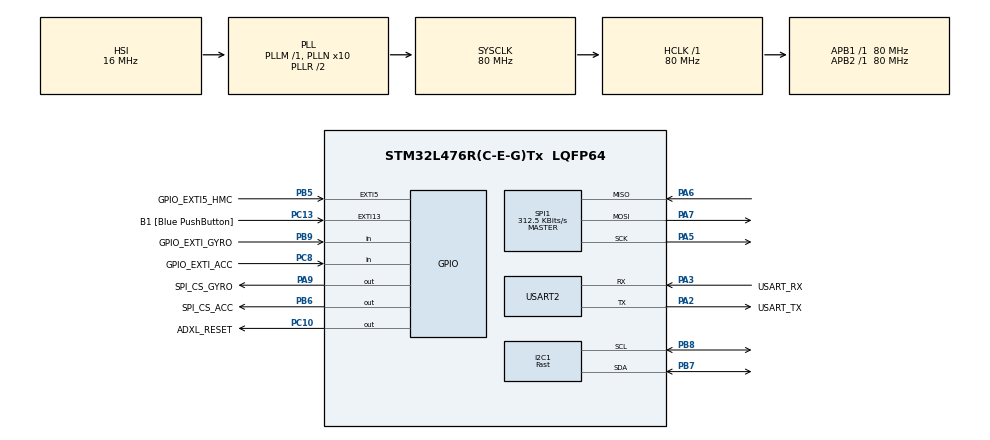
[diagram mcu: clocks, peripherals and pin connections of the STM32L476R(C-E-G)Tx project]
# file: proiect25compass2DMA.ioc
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Dma.I2C1_RX.2.Direction=DMA_PERIPH_TO_MEMORY
Dma.I2C1_RX.2.Instance=DMA1_Channel7
Dma.I2C1_RX.2.MemDataAlignment=DMA_MDATAALIGN_BYTE
Dma.I2C1_RX.2.MemInc=DMA_MINC_ENABLE
Dma.I2C1_RX.2.Mode=DMA_NORMAL
Dma.I2C1_RX.2.PeriphDataAlignment=DMA_PDATAALIGN_BYTE
Dma.I2C1_RX.2.PeriphInc=DMA_PINC_DISABLE
Dma.I2C1_RX.2.Priority=DMA_PRIORITY_LOW
Dma.Request0=SPI1_RX
Dma.Request1=SPI1_TX
Dma.Request2=I2C1_RX
Dma.SPI1_RX.0.Direction=DMA_PERIPH_TO_MEMORY
Dma.SPI1_RX.0.Instance=DMA1_Channel2
Dma.SPI1_RX.0.MemDataAlignment=DMA_MDATAALIGN_BYTE
Dma.SPI1_RX.0.MemInc=DMA_MINC_ENABLE
Dma.SPI1_RX.0.Mode=DMA_NORMAL
Dma.SPI1_RX.0.PeriphDataAlignment=DMA_PDATAALIGN_BYTE
Dma.SPI1_RX.0.PeriphInc=DMA_PINC_DISABLE
Dma.SPI1_RX.0.Priority=DMA_PRIORITY_LOW
Dma.SPI1_TX.1.Direction=DMA_MEMORY_TO_PERIPH
Dma.SPI1_TX.1.Instance=DMA1_Channel3
Dma.SPI1_TX.1.MemDataAlignment=DMA_MDATAALIGN_BYTE
Dma.SPI1_TX.1.MemInc=DMA_MINC_ENABLE
Dma.SPI1_TX.1.Mode=DMA_NORMAL
Dma.SPI1_TX.1.PeriphDataAlignment=DMA_PDATAALIGN_BYTE
Dma.SPI1_TX.1.PeriphInc=DMA_PINC_DISABLE
Dma.SPI1_TX.1.Priority=DMA_PRIORITY_LOW
I2C1.I2C_Speed_Mode=I2C_Fast
I2C1.Timing=0x00702991
Mcu.Family=STM32L4
Mcu.Name=STM32L476R(C-E-G)Tx
Mcu.Package=LQFP64
NVIC.DMA1_Channel2_IRQn=true\:2\:0\:true\:false\:true\:false\:true\:true
NVIC.DMA1_Channel3_IRQn=true\:2\:0\:true\:false\:true\:false\:true\:true
NVIC.DMA1_Channel7_IRQn=true\:0\:0\:false\:false\:true\:false\:true\:true
NVIC.EXTI9_5_IRQn=true\:2\:0\:true\:false\:true\:true\:true\:true
NVIC.I2C1_EV_IRQn=true\:2\:0\:true\:false\:true\:true\:true\:true
NVIC.PriorityGroup=NVIC_PRIORITYGROUP_4
NVIC.SPI1_IRQn=true\:2\:0\:true\:false\:true\:true\:true\:true
PA13\ (JTMS-SWDIO).GPIO_Label=TMS
PA13\ (JTMS-SWDIO).Mode=Serial_Wire
PA13\ (JTMS-SWDIO).Signal=SYS_JTMS-SWDIO
PA14\ (JTCK-SWCLK).GPIO_Label=TCK
PA14\ (JTCK-SWCLK).Mode=Serial_Wire
PA14\ (JTCK-SWCLK).Signal=SYS_JTCK-SWCLK
PA2.GPIO_Label=USART_TX
PA2.GPIO_Mode=GPIO_MODE_AF_PP
PA2.GPIO_PuPd=GPIO_NOPULL
PA2.GPIO_Speed=GPIO_SPEED_FREQ_VERY_HIGH
PA2.Mode=Asynchronous
PA2.Signal=USART2_TX
PA3.GPIO_Label=USART_RX
PA3.GPIO_Mode=GPIO_MODE_AF_PP
PA3.GPIO_PuPd=GPIO_NOPULL
PA3.GPIO_Speed=GPIO_SPEED_FREQ_VERY_HIGH
PA3.Mode=Asynchronous
PA3.Signal=USART2_RX
PA5.Mode=Full_Duplex_Master
PA5.Signal=SPI1_SCK
PA6.GPIO_PuPd=GPIO_PULLUP
PA6.Mode=Full_Duplex_Master
PA6.Signal=SPI1_MISO
PA7.GPIO_PuPd=GPIO_PULLUP
PA7.Mode=Full_Duplex_Master
PA7.Signal=SPI1_MOSI
PA9.GPIO_Label=SPI_CS_GYRO
PA9.GPIO_Speed=GPIO_SPEED_FREQ_HIGH
PA9.PinState=GPIO_PIN_SET
PA9.Signal=GPIO_Output
PB3\ (JTDO-TRACESWO).GPIO_Label=SWO
PB3\ (JTDO-TRACESWO).Signal=SYS_JTDO-SWO
PB5.GPIO_Label=GPIO_EXTI5_HMC
PB5.GPIO_PuPd=GPIO_PULLUP
PB5.Signal=GPXTI5
PB6.GPIO_Label=SPI_CS_ACC
PB6.GPIO_Speed=GPIO_SPEED_FREQ_HIGH
PB6.PinState=GPIO_PIN_SET
PB6.Signal=GPIO_Output
PB7.GPIO_FM7=I2C_FASTMODEPLUS_PB7
PB7.GPIO_Pu=GPIO_PULLUP
PB7.Mode=I2C
PB7.Signal=I2C1_SDA
PB8.GPIO_FM8=I2C_FASTMODEPLUS_PB8
PB8.GPIO_Pu=GPIO_PULLUP
PB8.Mode=I2C
PB8.Signal=I2C1_SCL
PB9.GPIO_Label=GPIO_EXTI_GYRO
PB9.Signal=GPIO_Input
PC10.GPIO_Label=ADXL_RESET
PC10.Signal=GPIO_Output
PC13.GPIO_Label=B1 [Blue PushButton]
PC13.GPIO_ModeDefaultEXTI=GPIO_MODE_IT_FALLING
PC13.GPIO_PuPd=GPIO_NOPULL
PC13.Signal=GPXTI13
PC14-OSC32_IN\ (PC14).Mode=LSE-External-Oscillator
PC14-OSC32_IN\ (PC14).Signal=RCC_OSC32_IN
PC15-OSC32_OUT\ (PC15).Mode=LSE-External-Oscillator
PC15-OSC32_OUT\ (PC15).Signal=RCC_OSC32_OUT
PC8.GPIO_Label=GPIO_EXTI_ACC
PC8.Signal=GPIO_Input
PH0-OSC_IN\ (PH0).Signal=RCC_OSC_IN
PH1-OSC_OUT\ (PH1).Signal=RCC_OSC_OUT
ProjectManager.HeapSize=0x200
ProjectManager.StackSize=0x400
ProjectManager.TargetToolchain=STM32CubeIDE
RCC.ADCFreq_Value=64000000
RCC.AHBFreq_Value=80000000
RCC.APB1Freq_Value=80000000
RCC.APB1TimFreq_Value=80000000
RCC.APB2Freq_Value=80000000
RCC.APB2TimFreq_Value=80000000
RCC.CortexFreq_Value=80000000
RCC.HCLKFreq_Value=80000000
RCC.HSE_VALUE=8000000
RCC.HSI_VALUE=16000000
RCC.MSI_VALUE=4000000
RCC.PLLN=10
RCC.PLLSourceVirtual=RCC_PLLSOURCE_HSI
RCC.PREFETCH_ENABLE=1
RCC.SYSCLKFreq_VALUE=80000000
RCC.SYSCLKSource=RCC_SYSCLKSOURCE_PLLCLK
RCC.USBFreq_Value=64000000
RCC.VCOOutputFreq_Value=160000000
SPI1.BaudRatePrescaler=SPI_BAUDRATEPRESCALER_256
SPI1.CLKPhase=SPI_PHASE_2EDGE
SPI1.CLKPolarity=SPI_POLARITY_HIGH
SPI1.CalculateBaudRate=312.5 KBits/s
SPI1.DataSize=SPI_DATASIZE_8BIT
SPI1.Direction=SPI_DIRECTION_2LINES
SPI1.Mode=SPI_MODE_MASTER
SPI1.VirtualType=VM_MASTER
USART2.VirtualMode-Asynchronous=VM_ASYNC
board=NUCLEO-L476RG

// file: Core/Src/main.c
/* USER CODE BEGIN Header */
/**
  ******************************************************************************
  * @file           : main.c
  * @brief          : Main program body
  ******************************************************************************
  * @attention
  *
  * Copyright (c) 2022 STMicroelectronics.
  * All rights reserved.
  *
  * This software is licensed under terms that can be found in the LICENSE file
  * in the root directory of this software component.
  * If no LICENSE file comes with this software, it is provided AS-IS.
  *
  ******************************************************************************
  */
/* USER CODE END Header */
#include "main.h"
#include "dma.h"
#include "i2c.h"
#include "spi.h"
#include "usart.h"
#include "gpio.h"

/* USER CODE BEGIN Includes */
#include <stdio.h>
#include "ADXL.h"
#include <string.h>
#include "GYRO.h"
#include <stdbool.h>
#include "HMC.h"
/* USER CODE END Includes */

/* USER CODE BEGIN PV */
bool is_new_data_available = false;
bool is_new_ACC_datacomplete = false;
bool is_new_processing_ready = true;
bool is_new_GYRO_datacomplete = false;
bool HMC_EXTI_Ready = false;
bool HMC_IT_Ready = false;

extern DMA_HandleTypeDef hdma_spi1_rx;
/* USER CODE END PV */

void SystemClock_Config(void);

int main(void)
{
  /* USER CODE BEGIN 1 */
  // uint8_t buffTest[] = {0x8F, 0x00};

  /* USER CODE END 1 */

  /* MCU Configuration--------------------------------------------------------*/

  /* Reset of all peripherals, Initializes the Flash interface and the Systick. */
  HAL_Init();

  /* Configure the system clock */
  SystemClock_Config();

  /* Initialize all configured peripherals */
  MX_GPIO_Init();
  MX_DMA_Init();
  MX_USART2_UART_Init();
  MX_SPI1_Init();
  MX_I2C1_Init();
  /* USER CODE BEGIN 2 */

  HMC_DEVIDv2();
  Set_SingleMeasureMode();
 // ADXL_Init();
//  GYRO_PowerMode();

  int16_t x,y,z;

 // ADXL_ReadValuesXYZ(&x, &y, &z);
//  GYRO_ReadValuesXYZ(&x, &y, &z);
  /* USER CODE END 2 */

  /* Infinite loop */
  /* USER CODE BEGIN WHILE */

  while (1)
  {
/*	if(ADXL_IsExtiDataReady())
	{
		ADXL_IT_StartSPI();
	}

	if(GYRO_IsExtiDataReady())
	{
		GYRO_SPI_IT_START();
	}

	if(is_new_ACC_datacomplete)
	{
		is_new_ACC_datacomplete = false;
		ADXL_IT_GetValuesXYZ(&x, &y, &z);
		ADXL_ConvertXYZValuesG(&x, &y, &z);
	//	USART_TransmitACCValues(&x, &y, &z);
 	}

    if(is_new_GYRO_datacomplete)
    {
	    is_new_GYRO_datacomplete =false;
	    GYRO_IT_GetValuesXYZ(&x, &y, &z);
  	    GYRO_XYZConv(&x, &y, &z);

  	 //   USART_TransmitGYROValues(&x, &y, &z);
    }
*/
	 if(HMC_IT_Ready)
	 {
         HMC_IT_GetValuesXYZ(&x, &y, &z);
		 USART_TransmitHMCValues(&x, &y, &z);
		 HMC_IT_Ready = false;
	 }
    /* USER CODE END WHILE */

   }
}

void SystemClock_Config(void)
{
  RCC_OscInitTypeDef RCC_OscInitStruct = {0};
  RCC_ClkInitTypeDef RCC_ClkInitStruct = {0};

  /** Configure the main internal regulator output voltage
  */
  if (HAL_PWREx_ControlVoltageScaling(PWR_REGULATOR_VOLTAGE_SCALE1) != HAL_OK)
  {
    Error_Handler();
  }

  /** Initializes the RCC Oscillators according to the specified parameters
  * in the RCC_OscInitTypeDef structure.
  */
  RCC_OscInitStruct.OscillatorType = RCC_OSCILLATORTYPE_HSI;
  RCC_OscInitStruct.HSIState = RCC_HSI_ON;
  RCC_OscInitStruct.HSICalibrationValue = RCC_HSICALIBRATION_DEFAULT;
  RCC_OscInitStruct.PLL.PLLState = RCC_PLL_ON;
  RCC_OscInitStruct.PLL.PLLSource = RCC_PLLSOURCE_HSI;
  RCC_OscInitStruct.PLL.PLLM = 1;
  RCC_OscInitStruct.PLL.PLLN = 10;
  RCC_OscInitStruct.PLL.PLLP = RCC_PLLP_DIV7;
  RCC_OscInitStruct.PLL.PLLQ = RCC_PLLQ_DIV2;
  RCC_OscInitStruct.PLL.PLLR = RCC_PLLR_DIV2;
  if (HAL_RCC_OscConfig(&RCC_OscInitStruct) != HAL_OK)
  {
    Error_Handler();
  }

  /** Initializes the CPU, AHB and APB buses clocks
  */
  RCC_ClkInitStruct.ClockType = RCC_CLOCKTYPE_HCLK|RCC_CLOCKTYPE_SYSCLK
                              |RCC_CLOCKTYPE_PCLK1|RCC_CLOCKTYPE_PCLK2;
  RCC_ClkInitStruct.SYSCLKSource = RCC_SYSCLKSOURCE_PLLCLK;
  RCC_ClkInitStruct.AHBCLKDivider = RCC_SYSCLK_DIV1;
  RCC_ClkInitStruct.APB1CLKDivider = RCC_HCLK_DIV1;
  RCC_ClkInitStruct.APB2CLKDivider = RCC_HCLK_DIV1;

  if (HAL_RCC_ClockConfig(&RCC_ClkInitStruct, FLASH_LATENCY_4) != HAL_OK)
  {
    Error_Handler();
  }
}

void Error_Handler(void)
{
  __disable_irq();
  while (1)
  {
  }
}
